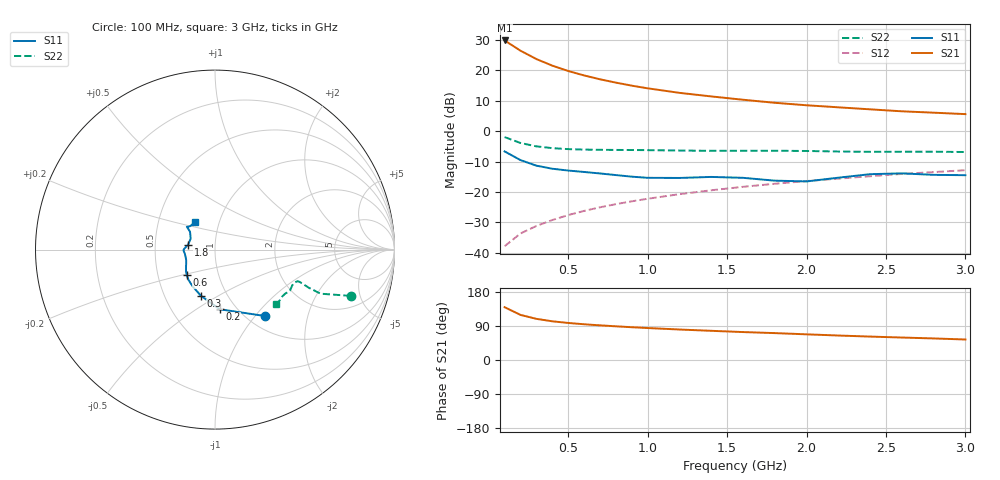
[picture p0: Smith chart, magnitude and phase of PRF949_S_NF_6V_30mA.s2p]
! Filename:  PRF949q.S2P  Version:  3.0
! Philips part #:  PRF949  Date:  Dec 1999
! Bias condition:  Vce=6V, Ic=30mA
#  MHz  S  MA  R 50
! Freq  S11  S21  S12  S22  :
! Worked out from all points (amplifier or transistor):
!   20 points, 100 MHz to 3 GHz, reference 50 ohm
!   highest |S21| = 29.9 dB at 100 MHz (marker M1)
!   |S21| within 3 dB of that: start of sweep to 188.9 MHz
!   unconditionally stable (mu >= 1): 575.1 MHz to end of sweep
!   at 400 MHz: K = 0.94, MSG = 25.4 dB, |S12| = -29.3 dB
!   at 1.2 GHz: K = 1.07, MAG = 15.1 dB, |S12| = -20.8 dB
!   at 3 GHz: K = 1.04, MAG = 8.0 dB, |S12| = -12.9 dB
!   lowest NFmin = 2.29 dB at 500 MHz
!   S11 on the Smith chart (normalised r, x): 100 MHz: 1.20, -1.13; 200 MHz: 0.84, -0.63; 300 MHz: 0.76, -0.42; 600 MHz: 0.70, -0.21; 1.8 GHz: 0.74, +0.04; 3 GHz: 0.77, +0.24
100  0.4634 -53.0  31.12 139.3  0.01276 71.6  0.7978 -18.9
200  0.3335 -85.4  21.1 119.0  0.02064 69.5  0.6377 -22.7
300  0.27 -106.5  15.38 108.6  0.02746 71.2  0.5617 -22.1
400  0.2404 -121.0  11.98 102.2  0.03436 73.3  0.5246 -21.3
500  0.2245 -131.0  9.783 97.7  0.04147 75.0  0.5058 -20.9
600  0.2127 -138.0  8.264 94.3  0.04855 76.2  0.4965 -20.9
700  0.2011 -143.4  7.144 91.4  0.05569 77.2  0.4925 -21.0
800  0.189 -148.7  6.294 88.9  0.06273 77.9  0.4906 -21.1
900  0.178 -154.5  5.611 86.5  0.06986 78.4  0.4886 -21.3
1000  0.1704 -160.6  5.071 84.4  0.07701 78.8  0.4865 -21.6
1200  0.1695 -172.4  4.271 80.5  0.09158 79.0  0.479 -22.7
1400  0.1762 -178.8  3.73 77.0  0.1062 79.1  0.4743 -24.8
1600  0.1703 178.0  3.288 73.7  0.1211 79.1  0.4752 -27.0
1800  0.153 170.4  2.93 71.0  0.1359 78.8  0.4758 -28.6
2000  0.1485 155.8  2.667 67.7  0.1506 78.6  0.4712 -30.0
2200  0.1712 144.4  2.467 64.6  0.1653 78.2  0.4617 -32.1
2400  0.1955 141.5  2.286 61.8  0.1809 77.7  0.4563 -35.1
2600  0.2017 141.1  2.121 59.3  0.1975 77.2  0.458 -37.9
2800  0.1906 136.9  2.013 56.9  0.2118 76.9  0.4588 -39.8
3000  0.1882 126.4  1.907 54.1  0.2274 76.6  0.4528 -41.6
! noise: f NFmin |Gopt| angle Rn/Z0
500  2.29  0.08  43  0.51
800  2.78  0.12  18  0.43
900  2.81  0.05  -29  0.31
1000  2.94  0.03  37  0.28
1500  3.03  0.16  180  0.12
2000  3.42  0.15  -137  0.38
